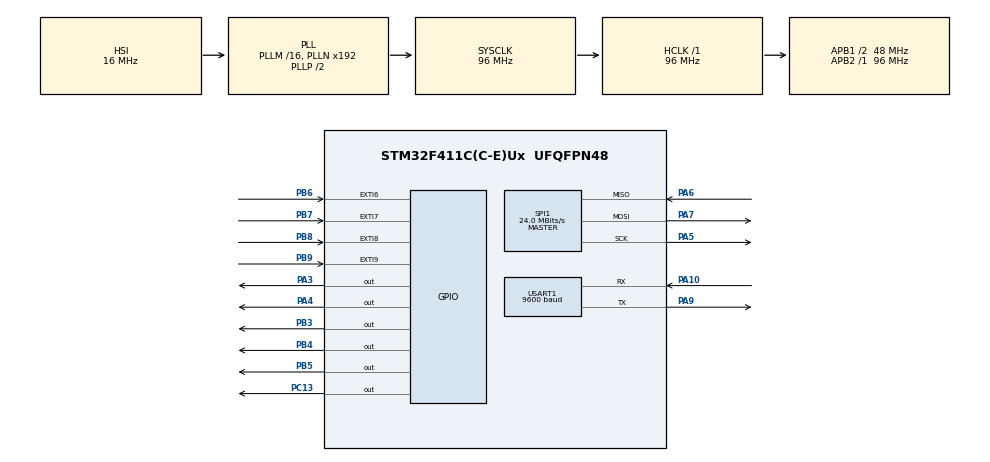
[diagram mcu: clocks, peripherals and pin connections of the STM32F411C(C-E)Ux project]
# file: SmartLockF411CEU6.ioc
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Dma.Request0=USART1_RX
Dma.USART1_RX.0.Direction=DMA_PERIPH_TO_MEMORY
Dma.USART1_RX.0.FIFOMode=DMA_FIFOMODE_DISABLE
Dma.USART1_RX.0.Instance=DMA2_Stream5
Dma.USART1_RX.0.MemDataAlignment=DMA_MDATAALIGN_BYTE
Dma.USART1_RX.0.MemInc=DMA_MINC_ENABLE
Dma.USART1_RX.0.Mode=DMA_NORMAL
Dma.USART1_RX.0.PeriphDataAlignment=DMA_PDATAALIGN_BYTE
Dma.USART1_RX.0.PeriphInc=DMA_PINC_DISABLE
Dma.USART1_RX.0.Priority=DMA_PRIORITY_LOW
Mcu.Family=STM32F4
Mcu.Name=STM32F411C(C-E)Ux
Mcu.Package=UFQFPN48
NVIC.DMA2_Stream5_IRQn=true\:0\:0\:false\:false\:true\:false\:true\:true
NVIC.EXTI9_5_IRQn=true\:0\:0\:false\:false\:true\:true\:true\:true
NVIC.PriorityGroup=NVIC_PRIORITYGROUP_4
NVIC.TIM2_IRQn=true\:0\:0\:false\:false\:true\:true\:true\:true
NVIC.USART1_IRQn=true\:0\:0\:false\:false\:true\:true\:true\:true
PA10.Mode=Asynchronous
PA10.Signal=USART1_RX
PA13.Mode=Serial_Wire
PA13.Signal=SYS_JTMS-SWDIO
PA14.Mode=Serial_Wire
PA14.Signal=SYS_JTCK-SWCLK
PA3.GPIO_Speed=GPIO_SPEED_FREQ_LOW
PA3.Signal=GPIO_Output
PA4.GPIO_Speed=GPIO_SPEED_FREQ_LOW
PA4.PinState=GPIO_PIN_RESET
PA4.Signal=GPIO_Output
PA5.Mode=Full_Duplex_Master
PA5.Signal=SPI1_SCK
PA6.Mode=Full_Duplex_Master
PA6.Signal=SPI1_MISO
PA7.Mode=Full_Duplex_Master
PA7.Signal=SPI1_MOSI
PA9.Mode=Asynchronous
PA9.Signal=USART1_TX
PB3.PinState=GPIO_PIN_SET
PB3.Signal=GPIO_Output
PB4.PinState=GPIO_PIN_SET
PB4.Signal=GPIO_Output
PB5.PinState=GPIO_PIN_SET
PB5.Signal=GPIO_Output
PB6.GPIO_PuPd=GPIO_PULLDOWN
PB6.Signal=GPXTI6
PB7.GPIO_PuPd=GPIO_PULLDOWN
PB7.Signal=GPXTI7
PB8.GPIO_PuPd=GPIO_PULLDOWN
PB8.Signal=GPXTI8
PB9.GPIO_PuPd=GPIO_PULLDOWN
PB9.Signal=GPXTI9
PC13-ANTI_TAMP.PinState=GPIO_PIN_SET
PC13-ANTI_TAMP.Signal=GPIO_Output
ProjectManager.HeapSize=0x200
ProjectManager.StackSize=0x400
ProjectManager.TargetToolchain=STM32CubeIDE
RCC.AHBFreq_Value=96000000
RCC.APB1CLKDivider=RCC_HCLK_DIV2
RCC.APB1Freq_Value=48000000
RCC.APB1TimFreq_Value=96000000
RCC.APB2Freq_Value=96000000
RCC.APB2TimFreq_Value=96000000
RCC.CortexFreq_Value=96000000
RCC.HCLKFreq_Value=96000000
RCC.HSE_VALUE=25000000
RCC.HSI_VALUE=16000000
RCC.LSE_VALUE=32768
RCC.SYSCLKFreq_VALUE=96000000
RCC.SYSCLKSource=RCC_SYSCLKSOURCE_PLLCLK
RCC.VCOOutputFreq_Value=192000000
SPI1.BaudRatePrescaler=SPI_BAUDRATEPRESCALER_4
SPI1.CRCCalculation=SPI_CRCCALCULATION_DISABLE
SPI1.CalculateBaudRate=24.0 MBits/s
SPI1.Direction=SPI_DIRECTION_2LINES
SPI1.Mode=SPI_MODE_MASTER
SPI1.VirtualType=VM_MASTER
TIM2.Period=99999
TIM2.Prescaler=9999
USART1.BaudRate=9600
USART1.VirtualMode=VM_ASYNC
VP_TIM2_VS_ClockSourceINT.Mode=Internal
board=custom

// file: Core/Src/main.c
/* USER CODE BEGIN Header */
/**
  ******************************************************************************
  * @file           : main.c
  * @brief          : Main program body
  ******************************************************************************
  * @attention
  *
  * Copyright (c) 2022 STMicroelectronics.
  * All rights reserved.
  *
  * This software is licensed under terms that can be found in the LICENSE file
  * in the root directory of this software component.
  * If no LICENSE file comes with this software, it is provided AS-IS.
  *
  ******************************************************************************
  */
/* USER CODE END Header */
#include "main.h"

/* USER CODE BEGIN Includes */
#include <string.h>
#include "ethernet_module.h"
#include "bluetooth_module.h"
#include "keyboard_module.h"
/* USER CODE END Includes */

SPI_HandleTypeDef hspi1;

TIM_HandleTypeDef htim2;

UART_HandleTypeDef huart1;
DMA_HandleTypeDef hdma_usart1_rx;

/* USER CODE BEGIN PV */

uint8_t RxBuf[RxBuf_SIZE];

/* USER CODE END PV */

void SystemClock_Config(void);
static void MX_GPIO_Init(void);
static void MX_DMA_Init(void);
static void MX_USART1_UART_Init(void);
static void MX_SPI1_Init(void);
static void MX_TIM2_Init(void);

/* USER CODE BEGIN 0 */
void HAL_UARTEx_RxEventCallback(UART_HandleTypeDef *huart, uint16_t Size)
{
	if (huart->Instance == USART1)
	{
		processBluetoothData(&huart1, RxBuf);

		HAL_UARTEx_ReceiveToIdle_DMA(&huart1, (uint8_t *) RxBuf, RxBuf_SIZE);
		__HAL_DMA_DISABLE_IT(&hdma_usart1_rx, DMA_IT_HT);
	}
}

void HAL_GPIO_EXTI_Callback(uint16_t GPIO_Pin)
{
	processKeypadInput(GPIO_Pin);
}

void HAL_TIM_PeriodElapsedCallback(TIM_HandleTypeDef* htim)
{
    HAL_GPIO_WritePin(GPIOC, GPIO_PIN_13, 1);
    HAL_TIM_Base_Stop_IT(&htim2);
}

/* USER CODE END 0 */

int main(void)
{

  /* MCU Configuration--------------------------------------------------------*/

  /* Reset of all peripherals, Initializes the Flash interface and the Systick. */
  HAL_Init();

  /* Configure the system clock */
  SystemClock_Config();

  /* Initialize all configured peripherals */
  MX_GPIO_Init();
  MX_DMA_Init();
  MX_USART1_UART_Init();
  MX_SPI1_Init();
  MX_TIM2_Init();
  /* USER CODE BEGIN 2 */
  W5500_Init(&hspi1);

  HAL_UARTEx_ReceiveToIdle_DMA(&huart1, RxBuf, RxBuf_SIZE);
  __HAL_DMA_DISABLE_IT(&hdma_usart1_rx, DMA_IT_HT);

  keypadInit(&htim2);

  /* USER CODE END 2 */

  /* Infinite loop */
  while (1)
  {

  }
}

void SystemClock_Config(void)
{
  RCC_OscInitTypeDef RCC_OscInitStruct = {0};
  RCC_ClkInitTypeDef RCC_ClkInitStruct = {0};

  /** Configure the main internal regulator output voltage
  */
  __HAL_RCC_PWR_CLK_ENABLE();
  __HAL_PWR_VOLTAGESCALING_CONFIG(PWR_REGULATOR_VOLTAGE_SCALE1);

  /** Initializes the RCC Oscillators according to the specified parameters
  * in the RCC_OscInitTypeDef structure.
  */
  RCC_OscInitStruct.OscillatorType = RCC_OSCILLATORTYPE_HSI;
  RCC_OscInitStruct.HSIState = RCC_HSI_ON;
  RCC_OscInitStruct.HSICalibrationValue = RCC_HSICALIBRATION_DEFAULT;
  RCC_OscInitStruct.PLL.PLLState = RCC_PLL_ON;
  RCC_OscInitStruct.PLL.PLLSource = RCC_PLLSOURCE_HSI;
  RCC_OscInitStruct.PLL.PLLM = 16;
  RCC_OscInitStruct.PLL.PLLN = 192;
  RCC_OscInitStruct.PLL.PLLP = RCC_PLLP_DIV2;
  RCC_OscInitStruct.PLL.PLLQ = 4;
  if (HAL_RCC_OscConfig(&RCC_OscInitStruct) != HAL_OK)
  {
    Error_Handler();
  }

  /** Initializes the CPU, AHB and APB buses clocks
  */
  RCC_ClkInitStruct.ClockType = RCC_CLOCKTYPE_HCLK|RCC_CLOCKTYPE_SYSCLK
                              |RCC_CLOCKTYPE_PCLK1|RCC_CLOCKTYPE_PCLK2;
  RCC_ClkInitStruct.SYSCLKSource = RCC_SYSCLKSOURCE_PLLCLK;
  RCC_ClkInitStruct.AHBCLKDivider = RCC_SYSCLK_DIV1;
  RCC_ClkInitStruct.APB1CLKDivider = RCC_HCLK_DIV2;
  RCC_ClkInitStruct.APB2CLKDivider = RCC_HCLK_DIV1;

  if (HAL_RCC_ClockConfig(&RCC_ClkInitStruct, FLASH_LATENCY_3) != HAL_OK)
  {
    Error_Handler();
  }
}

static void MX_SPI1_Init(void)
{

  /* SPI1 parameter configuration*/
  hspi1.Instance = SPI1;
  hspi1.Init.Mode = SPI_MODE_MASTER;
  hspi1.Init.Direction = SPI_DIRECTION_2LINES;
  hspi1.Init.DataSize = SPI_DATASIZE_8BIT;
  hspi1.Init.CLKPolarity = SPI_POLARITY_LOW;
  hspi1.Init.CLKPhase = SPI_PHASE_1EDGE;
  hspi1.Init.NSS = SPI_NSS_SOFT;
  hspi1.Init.BaudRatePrescaler = SPI_BAUDRATEPRESCALER_4;
  hspi1.Init.FirstBit = SPI_FIRSTBIT_MSB;
  hspi1.Init.TIMode = SPI_TIMODE_DISABLE;
  hspi1.Init.CRCCalculation = SPI_CRCCALCULATION_DISABLE;
  hspi1.Init.CRCPolynomial = 10;
  if (HAL_SPI_Init(&hspi1) != HAL_OK)
  {
    Error_Handler();
  }

}

static void MX_TIM2_Init(void)
{

  TIM_ClockConfigTypeDef sClockSourceConfig = {0};
  TIM_MasterConfigTypeDef sMasterConfig = {0};

  htim2.Instance = TIM2;
  htim2.Init.Prescaler = 9999;
  htim2.Init.CounterMode = TIM_COUNTERMODE_UP;
  htim2.Init.Period = 99999;
  htim2.Init.ClockDivision = TIM_CLOCKDIVISION_DIV1;
  htim2.Init.AutoReloadPreload = TIM_AUTORELOAD_PRELOAD_DISABLE;
  if (HAL_TIM_Base_Init(&htim2) != HAL_OK)
  {
    Error_Handler();
  }
  sClockSourceConfig.ClockSource = TIM_CLOCKSOURCE_INTERNAL;
  if (HAL_TIM_ConfigClockSource(&htim2, &sClockSourceConfig) != HAL_OK)
  {
    Error_Handler();
  }
  sMasterConfig.MasterOutputTrigger = TIM_TRGO_RESET;
  sMasterConfig.MasterSlaveMode = TIM_MASTERSLAVEMODE_DISABLE;
  if (HAL_TIMEx_MasterConfigSynchronization(&htim2, &sMasterConfig) != HAL_OK)
  {
    Error_Handler();
  }

}

static void MX_USART1_UART_Init(void)
{

  huart1.Instance = USART1;
  huart1.Init.BaudRate = 9600;
  huart1.Init.WordLength = UART_WORDLENGTH_8B;
  huart1.Init.StopBits = UART_STOPBITS_1;
  huart1.Init.Parity = UART_PARITY_NONE;
  huart1.Init.Mode = UART_MODE_TX_RX;
  huart1.Init.HwFlowCtl = UART_HWCONTROL_NONE;
  huart1.Init.OverSampling = UART_OVERSAMPLING_16;
  if (HAL_UART_Init(&huart1) != HAL_OK)
  {
    Error_Handler();
  }

}

static void MX_DMA_Init(void)
{

  /* DMA controller clock enable */
  __HAL_RCC_DMA2_CLK_ENABLE();

  /* DMA interrupt init */
  /* DMA2_Stream5_IRQn interrupt configuration */
  HAL_NVIC_SetPriority(DMA2_Stream5_IRQn, 0, 0);
  HAL_NVIC_EnableIRQ(DMA2_Stream5_IRQn);

}

static void MX_GPIO_Init(void)
{
  GPIO_InitTypeDef GPIO_InitStruct = {0};

  /* GPIO Ports Clock Enable */
  __HAL_RCC_GPIOC_CLK_ENABLE();
  __HAL_RCC_GPIOA_CLK_ENABLE();
  __HAL_RCC_GPIOB_CLK_ENABLE();

  /*Configure GPIO pin Output Level */
  HAL_GPIO_WritePin(GPIOC, GPIO_PIN_13, GPIO_PIN_SET);

  /*Configure GPIO pin Output Level */
  HAL_GPIO_WritePin(GPIOA, GPIO_PIN_3|GPIO_PIN_4, GPIO_PIN_RESET);

  /*Configure GPIO pin Output Level */
  HAL_GPIO_WritePin(GPIOB, GPIO_PIN_3|GPIO_PIN_4|GPIO_PIN_5, GPIO_PIN_SET);

  /*Configure GPIO pin : PC13 */
  GPIO_InitStruct.Pin = GPIO_PIN_13;
  GPIO_InitStruct.Mode = GPIO_MODE_OUTPUT_PP;
  GPIO_InitStruct.Pull = GPIO_NOPULL;
  GPIO_InitStruct.Speed = GPIO_SPEED_FREQ_LOW;
  HAL_GPIO_Init(GPIOC, &GPIO_InitStruct);

  /*Configure GPIO pins : PA3 PA4 */
  GPIO_InitStruct.Pin = GPIO_PIN_3|GPIO_PIN_4;
  GPIO_InitStruct.Mode = GPIO_MODE_OUTPUT_PP;
  GPIO_InitStruct.Pull = GPIO_NOPULL;
  GPIO_InitStruct.Speed = GPIO_SPEED_FREQ_LOW;
  HAL_GPIO_Init(GPIOA, &GPIO_InitStruct);

  /*Configure GPIO pins : PB3 PB4 PB5 */
  GPIO_InitStruct.Pin = GPIO_PIN_3|GPIO_PIN_4|GPIO_PIN_5;
  GPIO_InitStruct.Mode = GPIO_MODE_OUTPUT_PP;
  GPIO_InitStruct.Pull = GPIO_NOPULL;
  GPIO_InitStruct.Speed = GPIO_SPEED_FREQ_LOW;
  HAL_GPIO_Init(GPIOB, &GPIO_InitStruct);

  /*Configure GPIO pins : PB6 PB7 PB8 PB9 */
  GPIO_InitStruct.Pin = GPIO_PIN_6|GPIO_PIN_7|GPIO_PIN_8|GPIO_PIN_9;
  GPIO_InitStruct.Mode = GPIO_MODE_IT_RISING;
  GPIO_InitStruct.Pull = GPIO_PULLDOWN;
  HAL_GPIO_Init(GPIOB, &GPIO_InitStruct);

  /* EXTI interrupt init*/
  HAL_NVIC_SetPriority(EXTI9_5_IRQn, 0, 0);
  HAL_NVIC_EnableIRQ(EXTI9_5_IRQn);

}

void Error_Handler(void)
{
  __disable_irq();
  while (1)
  {
  }
}
